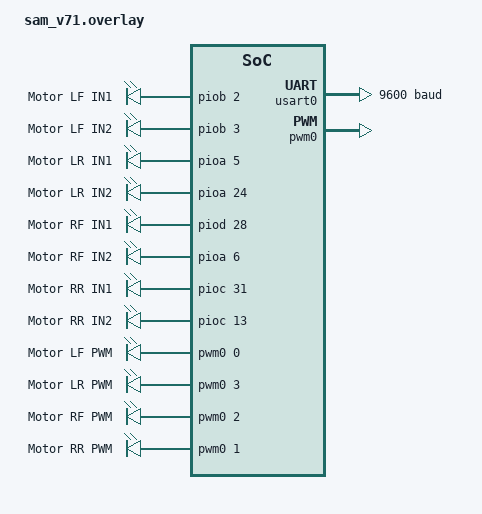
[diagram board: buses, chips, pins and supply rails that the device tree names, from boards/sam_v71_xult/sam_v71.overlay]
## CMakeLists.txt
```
cmake_minimum_required(VERSION 3.20.0)

find_package(Zephyr REQUIRED HINTS $ENV{ZEPHYR_BASE})
project(zephyr_embedded_labs)

if(NOT DEFINED HW_BOARD)
    message(FATAL_ERROR "HW_BOARD is not defined. Pass -DHW_BOARD=ATSAMV71 or -DHW_BOARD=STM32MP257")
endif()

message(STATUS "HW_BOARD = ${HW_BOARD}")

if(HW_BOARD STREQUAL "ATSAMV71")
    target_compile_definitions(app PRIVATE HW_BOARD_ATSAMV71)

elseif(HW_BOARD STREQUAL "STM32MP257")
    target_compile_definitions(app PRIVATE HW_BOARD_STM32MP257)

else()
    message(FATAL_ERROR "Unsupported HW_BOARD: ${HW_BOARD}")
endif()

target_sources(app PRIVATE

    apps/vehicle_command_parser/vehicle_command_parser.c
)

if("${HW_BOARD}" STREQUAL "ATSAMV71")
    target_sources(app PRIVATE
        src/atsamv71_main.c

        apps/bluetooth_rx/bluetooth_rx.c
        apps/vehicle_control_manager/vehicle_control_manager.c
        apps/vehicle_command_parser/vehicle_ipc_msg_processor.c
        
        apps/net/udp.c
        apps/net/tcp.c
        apps/net/echo-server.c

        drivers/motor_driver/motor_driver.c
    )
endif()

if("${HW_BOARD}" STREQUAL "STM32MP257")
    target_sources(app PRIVATE
        src/stm32mp257_m33_main.c

        apps/stm32mp257_m33/ipc/ipc.c
        apps/stm32mp257_m33/rpmsg/rpmsg_processor.c
    )
endif()

target_include_directories(app PRIVATE
    include

    apps/vehicle_command_parser
    
)

if("${HW_BOARD}" STREQUAL "ATSAMV71")
    target_include_directories(app PRIVATE
        apps/bluetooth_rx
        apps/vehicle_control_manager
        apps/net

        drivers/motor_driver
    )
endif()

if("${HW_BOARD}" STREQUAL "STM32MP257")
    target_include_directories(app PRIVATE
        apps/stm32mp257_m33/ipc
        apps/stm32mp257_m33/rpmsg
    )
endif()
```

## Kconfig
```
mainmenu "Zephyr Embedded Labs"

config NET_SAMPLE_NUM_HANDLERS
    int "Number of simultaneous echo-server handlers"
    default 1
    range 1 10
    help
      Number of simultaneous client connections handled by
      the imported echo-server sample.

source "Kconfig.zephyr"
```

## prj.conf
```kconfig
CONFIG_GPIO=y
CONFIG_PRINTK=y

CONFIG_PWM=y

CONFIG_SERIAL=y
CONFIG_CONSOLE=y
CONFIG_UART_CONSOLE=y

CONFIG_UART_INTERRUPT_DRIVEN=y

CONFIG_PINCTRL=y
```

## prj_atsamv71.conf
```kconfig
CONFIG_GPIO=y
CONFIG_PRINTK=y

CONFIG_PWM=y

CONFIG_SERIAL=y
CONFIG_CONSOLE=y
CONFIG_UART_CONSOLE=y

CONFIG_UART_INTERRUPT_DRIVEN=y

CONFIG_PINCTRL=y

# Generic networking options
CONFIG_NETWORKING=y
CONFIG_NET_UDP=y
CONFIG_NET_TCP=y
CONFIG_NET_IPV6=y
CONFIG_NET_IPV4=y
CONFIG_NET_SOCKETS=y
CONFIG_POSIX_API=y
CONFIG_NET_CONNECTION_MANAGER=y

CONFIG_NET_LOG=y
CONFIG_NET_STATISTICS=y

CONFIG_NET_SHELL=y
CONFIG_SHELL=y

CONFIG_NET_PKT_RX_COUNT=16
CONFIG_NET_PKT_TX_COUNT=16
CONFIG_NET_BUF_RX_COUNT=64
CONFIG_NET_BUF_TX_COUNT=64
CONFIG_NET_CONTEXT_NET_PKT_POOL=y
CONFIG_NET_MAX_CONTEXTS=10


# Network application options and configuration
CONFIG_NET_CONFIG_SETTINGS=y
CONFIG_NET_CONFIG_NEED_IPV6=y
CONFIG_NET_CONFIG_MY_IPV6_ADDR="2001:db8::1"
CONFIG_NET_CONFIG_PEER_IPV6_ADDR="2001:db8::2"
CONFIG_NET_CONFIG_NEED_IPV4=y
CONFIG_NET_CONFIG_MY_IPV4_ADDR="192.0.2.1"
CONFIG_NET_CONFIG_PEER_IPV4_ADDR="192.0.2.2"

# How many client can connect to echo-server simultaneously
CONFIG_NET_SAMPLE_NUM_HANDLERS=1


CONFIG_DEBUG_OPTIMIZATIONS=y
```

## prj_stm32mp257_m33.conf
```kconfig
CONFIG_KERNEL_BIN_NAME="stm32mp257_m33"

CONFIG_PRINTK=n

CONFIG_IPM=y
CONFIG_MAIN_STACK_SIZE=2048
CONFIG_HEAP_MEM_POOL_SIZE=1024

CONFIG_OPENAMP=y
CONFIG_OPENAMP_RSC_TABLE=y
CONFIG_OPENAMP_RSC_TABLE_NUM_RPMSG_BUFF=8
CONFIG_OPENAMP_MASTER=n

CONFIG_SHELL=y
CONFIG_SHELL_BACKEND_SERIAL=n
CONFIG_SHELL_BACKEND_RPMSG=y
```

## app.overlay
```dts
/ {
    my_outputs {
        compatible = "gpio-leds";

        pa06_out: pa06_out {
            gpios = <&pioa 6 GPIO_ACTIVE_HIGH>;
            label = "PA06 Output";
        };
    };

    aliases {
        pa06-out = &pa06_out;
    };

};

&usart0 {
    status = "okay";
    current-speed = <9600>;
    pinctrl-0 = <&usart0_default>;
    pinctrl-names = "default";
};
```

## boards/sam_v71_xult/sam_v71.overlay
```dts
#include <zephyr/dt-bindings/gpio/gpio.h>
#include <zephyr/dt-bindings/pwm/pwm.h>
#include <dt-bindings/pinctrl/samv71q-pinctrl.h>

/ {
    motor_direction_pins {
        compatible = "gpio-leds";

        /*
         * Direction GPIO pins:
         *   PB02 -> Left Front  IN1
         *   PB03 -> Left Front  IN2
         *   PA05 -> Left Rear   IN1
         *   PA24 -> Left Rear   IN2
         *
         *   PD28 -> Right Front IN1
         *   PA06 -> Right Front IN2
         *   PC31 -> Right Rear  IN1
         *   PC13 -> Right Rear  IN2
         *
         * Avoided: 



         *   PB00 / PB01 -> USART0 HC-05
         *   PD26 / PD24 / PA10 / PA22 -> Audio-related pins
         *   PA00 / PD27 / PC19 / PA02 -> PWM pins
         */

        motor_lf_in1: motor_lf_in1 {
            gpios = <&piob 2 GPIO_ACTIVE_HIGH>;
            label = "Motor LF IN1";
        };

        motor_lf_in2: motor_lf_in2 {
            gpios = <&piob 3 GPIO_ACTIVE_HIGH>;
            label = "Motor LF IN2";
        };

        motor_lr_in1: motor_lr_in1 {
            gpios = <&pioa 5 GPIO_ACTIVE_HIGH>;
            label = "Motor LR IN1";
        };

        motor_lr_in2: motor_lr_in2 {
            gpios = <&pioa 24 GPIO_ACTIVE_HIGH>;
            label = "Motor LR IN2";
        };

        motor_rf_in1: motor_rf_in1 {
            gpios = <&piod 28 GPIO_ACTIVE_HIGH>;
            label = "Motor RF IN1";
        };

        motor_rf_in2: motor_rf_in2 {
            gpios = <&pioa 6 GPIO_ACTIVE_HIGH>;
            label = "Motor RF IN2";
        };

        motor_rr_in1: motor_rr_in1 {
            gpios = <&pioc 31 GPIO_ACTIVE_HIGH>;
            label = "Motor RR IN1";
        };

        motor_rr_in2: motor_rr_in2 {
            gpios = <&pioc 13 GPIO_ACTIVE_HIGH>;
            label = "Motor RR IN2";
        };
    };

    motor_pwm_outputs {
        compatible = "pwm-leds";

        /*
        * PWM pins:
        *   PD20 -> PWM channel 0 -> Left Front ENA
        *   PD27 -> PWM channel 3 -> Left Rear  ENB
        *
        *   PD26 -> PWM channel 2 -> Right Front ENA
        *   PA02 -> PWM channel 1 -> Right Rear  ENB
        */

        motor_lf_pwm: motor_lf_pwm {
            pwms = <&pwm0 0 PWM_MSEC(1) PWM_POLARITY_NORMAL>;
            label = "Motor LF PWM";
        };

        motor_lr_pwm: motor_lr_pwm {
            pwms = <&pwm0 3 PWM_MSEC(1) PWM_POLARITY_NORMAL>;
            label = "Motor LR PWM";
        };

        motor_rf_pwm: motor_rf_pwm {
            pwms = <&pwm0 2 PWM_MSEC(1) PWM_POLARITY_NORMAL>;
            label = "Motor RF PWM";
        };

        motor_rr_pwm: motor_rr_pwm {
            pwms = <&pwm0 1 PWM_MSEC(1) PWM_POLARITY_NORMAL>;
            label = "Motor RR PWM";
        };
    };

    aliases {
        motor-lf-in1 = &motor_lf_in1;
        motor-lf-in2 = &motor_lf_in2;

        motor-lr-in1 = &motor_lr_in1;
        motor-lr-in2 = &motor_lr_in2;

        motor-rf-in1 = &motor_rf_in1;
        motor-rf-in2 = &motor_rf_in2;

        motor-rr-in1 = &motor_rr_in1;
        motor-rr-in2 = &motor_rr_in2;

        motor-lf-pwm = &motor_lf_pwm;
        motor-lr-pwm = &motor_lr_pwm;
        motor-rf-pwm = &motor_rf_pwm;
        motor-rr-pwm = &motor_rr_pwm;
    };
};

&usart0 {
    status = "okay";
    current-speed = <9600>;
    pinctrl-0 = <&usart0_default>;
    pinctrl-names = "default";
};

&pwm0 {
    status = "okay";
};
```

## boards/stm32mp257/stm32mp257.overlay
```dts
/*
 * STM32MP257F-DK M33 OpenAMP shared memory configuration
 */

/ {
        chosen {
                /*
                 * Shared memory reserved for inter-processor communication.
                 */
                zephyr,ipc_shm = &ipc_shmem;
                zephyr,ipc = &mailbox;
        };

        ipc_shmem: memory1@81200000 {
                compatible = "mmio-sram";
                reg = <0x81200000 DT_SIZE_M(1)>;
        };
};
```

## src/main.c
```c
#include <zephyr/kernel.h>
#include <zephyr/sys/printk.h>
#include <zephyr/shell/shell.h>

#include <errno.h>
#include <string.h>

#ifdef HW_BOARD_ATSAMV71
#include "vehicle_control_manager.h"
#include "motor_driver.h"
#include "bluetooth_rx.h"
#endif

#ifdef HW_BOARD_STM32MP257
#include "ipc.h"
#endif

#ifdef HW_BOARD_STM32MP257

static int cmd_vehicle(const struct shell *shell, size_t argc, char **argv)
{
    if (argc < 2) {
        shell_print(shell, "Usage: vehicle <forward|backward|left|right|stop|estop>");
        return -EINVAL;
    }

    const char *cmd = argv[1];

    if (strcmp(cmd, "forward") == 0) {
        shell_print(shell, "vehicle: forward");
    } else if (strcmp(cmd, "backward") == 0) {
        shell_print(shell, "vehicle: backward");
    } else if (strcmp(cmd, "left") == 0) {
        shell_print(shell, "vehicle: left");
    } else if (strcmp(cmd, "right") == 0) {
        shell_print(shell, "vehicle: right");
    } else if (strcmp(cmd, "stop") == 0) {
        shell_print(shell, "vehicle: stop");
    } else if (strcmp(cmd, "estop") == 0) {
        shell_print(shell, "vehicle: emergency stop");
    } else {
        shell_error(shell, "Unknown vehicle command: %s", cmd);
        return -EINVAL;
    }

    return 0;
}

SHELL_CMD_REGISTER(vehicle, NULL, "Vehicle control command", cmd_vehicle);

#endif

int main(void)
{
    printk("\n\n----->>>> \t Custom motor control starting \t <<<<-----\n\n");
    int ret = 0;
#ifdef HW_BOARD_ATSAMV71
    vehicle_control_config_t config = {
        .default_speed_limit_pct = 40,
        .default_ttl_ms = 400,

        /*
         * Gentle initial values:
         * 0% to 100% takes about 1.25 seconds.
         * 100% to 0% takes about 0.6 seconds.
         */
        .ramp_up_pct_per_sec = 80,
        .ramp_down_pct_per_sec = 160,

        .max_update_dt_ms = 100,
    };


    /* Initialize motor driver */
    ret = motor_driver_init();
    if (ret != 0) {
        printk("motor_driver_init failed: %d\n", ret);
        //return 0;
    }
    else {
        printk("motor_driver_init success\n");
    }

    /* Initialize Vehicle command manager */
    vehicle_control_manager_init( &config );


    bluetooth_rx_init();
#endif


#ifdef HW_BOARD_STM32MP257
    start_stm32mp257_openamp_ipc();
#endif

    while (1) {        
        k_sleep(K_SECONDS(1));
    }
}
```

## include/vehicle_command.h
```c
#ifndef VEHICLE_COMMAND_H
#define VEHICLE_COMMAND_H

#include <stdint.h>
#include <stdbool.h>

#ifdef __cplusplus
extern "C" {
#endif

#define VEHICLE_COMMAND_VERSION        (1u)
#define VEHICLE_AXIS_MIN               (-1000)
#define VEHICLE_AXIS_MAX               (1000)
#define VEHICLE_SPEED_MIN_PCT          (0u)
#define VEHICLE_SPEED_MAX_PCT          (100u)

typedef enum {
    VEHICLE_SOURCE_UNKNOWN = 0,
    VEHICLE_SOURCE_HC05_UART,
    VEHICLE_SOURCE_BLE_GATT,
    VEHICLE_SOURCE_ROS2,
    VEHICLE_SOURCE_AUTONOMOUS,
    VEHICLE_SOURCE_TEST,
    VEHICLE_SOURCE_SAFETY
} vehicle_command_source_t;

typedef enum {
    VEHICLE_CMD_MOTION = 0,
    VEHICLE_CMD_STOP,
    VEHICLE_CMD_EMERGENCY_STOP,
    VEHICLE_CMD_SET_SPEED,
    VEHICLE_CMD_HEARTBEAT
} vehicle_command_type_t;

typedef enum {
    VEHICLE_MODE_MANUAL = 0,
    VEHICLE_MODE_AUTONOMOUS,
    VEHICLE_MODE_ASSISTED,
    VEHICLE_MODE_ESTOP
} vehicle_control_mode_t;

typedef struct {
    uint8_t version;

    vehicle_command_source_t source;
    vehicle_command_type_t command_type;
    vehicle_control_mode_t control_mode;

    /*
     * Normalized desired motion.
     *
     * linear_x:
     *   +1000 = full forward request
     *       0 = no forward/backward request
     *   -1000 = full backward request
     *
     * angular_z:
     *   +1000 = turn/rotate left request
     *       0 = no turn request
     *   -1000 = turn/rotate right request
     */
    int16_t linear_x;
    int16_t angular_z;

    /*
     * Maximum allowed output percentage.
     * This is NOT direct PWM.
     * It is a limit applied before ramping.
     */
    uint8_t speed_limit_pct;

    /*
     * Command validity duration.
     * If command is not refreshed before ttl_ms expires,
     * the vehicle control manager ramps toward stop.
     */
    uint16_t ttl_ms;

    uint32_t sequence_id;
    uint32_t timestamp_ms;
} vehicle_motion_command_t;

typedef struct {
    /*
     * Signed motor output after mixing and ramping.
     *
     * +100 = forward 100%
     *    0 = stop
     * -100 = backward 100%
     */
    int16_t left_pct;
    int16_t right_pct;

    bool emergency_stop_active;
    bool command_timeout_active;
} vehicle_motor_output_t;

#ifdef __cplusplus
}
#endif

#endif /* VEHICLE_COMMAND_H */
```

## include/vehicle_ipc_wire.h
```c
#ifndef VEHICLE_IPC_WIRE_H
#define VEHICLE_IPC_WIRE_H

#include <stdint.h>

#ifdef __cplusplus
extern "C" {
#endif

#define VEHICLE_CMD_MAGIC      (0x56434D44u) /* 'VCMD' */
#define VEHICLE_ACK_MAGIC      (0x5641434Bu) /* 'VACK' */
#define VEHICLE_WIRE_VERSION   (1u)

typedef enum {
    VEHICLE_ACK_STATUS_OK = 0,
    VEHICLE_ACK_STATUS_INVALID_LENGTH = 1,
    VEHICLE_ACK_STATUS_INVALID_MAGIC = 2,
    VEHICLE_ACK_STATUS_INVALID_VERSION = 3,
    VEHICLE_ACK_STATUS_INVALID_RANGE = 4,
    VEHICLE_ACK_STATUS_REJECTED = 5,
    VEHICLE_ACK_STATUS_BUSY = 6,
} vehicle_ack_status_t;

typedef struct __attribute__((packed)) {
    uint32_t magic;

    uint8_t version;
    uint8_t source;
    uint8_t command_type;
    uint8_t control_mode;

    int16_t linear_x;
    int16_t angular_z;

    uint8_t speed_limit_pct;
    uint8_t reserved0;

    uint16_t ttl_ms;

    uint32_t sequence_id;
    uint32_t timestamp_ms;
} vehicle_motion_command_wire_t;

typedef struct __attribute__((packed)) {
    uint32_t magic;
    uint8_t version;
    uint8_t status;
    uint16_t error_code;
    uint32_t sequence_id;
    uint32_t timestamp_ms;
} vehicle_command_ack_wire_t;

_Static_assert(sizeof(vehicle_motion_command_wire_t) == 24,
               "vehicle_motion_command_wire_t size changed");

_Static_assert(sizeof(vehicle_command_ack_wire_t) == 16,
               "vehicle_command_ack_wire_t size changed");

#ifdef __cplusplus
}
#endif

#endif
```

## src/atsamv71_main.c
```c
#include <zephyr/kernel.h>
#include <zephyr/sys/printk.h>
#include <zephyr/shell/shell.h>

#include <errno.h>
#include <string.h>

#include "vehicle_control_manager.h"
#include "motor_driver.h"
#include "bluetooth_rx.h"
#include "echo_server.h"

int main(void)
{
    printk("\n\n----->>>> \t Custom motor control starting \t <<<<-----\n\n");
    int ret = 0;

    vehicle_control_config_t config = {
        .default_speed_limit_pct = 40,
        .default_ttl_ms = 400,

        /*
         * Gentle initial values:
         * 0% to 100% takes about 1.25 seconds.
         * 100% to 0% takes about 0.6 seconds.
         */
        .ramp_up_pct_per_sec = 80,
        .ramp_down_pct_per_sec = 160,

        .max_update_dt_ms = 100,
    };


    /* Initialize motor driver */
    ret = motor_driver_init();
    if (ret != 0) {
        printk("motor_driver_init failed: %d\n", ret);
        //return 0;
    }
    else {
        printk("motor_driver_init success\n");
    }

    /* Initialize Vehicle command manager */
    vehicle_control_manager_init( &config );


    bluetooth_rx_init();

    echo_server();

    while (1) {        
        k_sleep(K_SECONDS(1));
    }
}
```

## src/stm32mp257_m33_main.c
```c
#include <zephyr/kernel.h>
#include <zephyr/sys/printk.h>
#include <zephyr/shell/shell.h>

#include <errno.h>
#include <string.h>

#include "ipc.h"

static int cmd_vehicle(const struct shell *shell, size_t argc, char **argv)
{
    if (argc < 2) {
        shell_print(shell, "Usage: vehicle <forward|backward|left|right|stop|estop>");
        return -EINVAL;
    }

    const char *cmd = argv[1];

    if (strcmp(cmd, "forward") == 0) {
        shell_print(shell, "vehicle: forward");
    } else if (strcmp(cmd, "backward") == 0) {
        shell_print(shell, "vehicle: backward");
    } else if (strcmp(cmd, "left") == 0) {
        shell_print(shell, "vehicle: left");
    } else if (strcmp(cmd, "right") == 0) {
        shell_print(shell, "vehicle: right");
    } else if (strcmp(cmd, "stop") == 0) {
        shell_print(shell, "vehicle: stop");
    } else if (strcmp(cmd, "estop") == 0) {
        shell_print(shell, "vehicle: emergency stop");
    } else {
        shell_error(shell, "Unknown vehicle command: %s", cmd);
        return -EINVAL;
    }

    return 0;
}

SHELL_CMD_REGISTER(vehicle, NULL, "Vehicle control command", cmd_vehicle);

int main(void)
{
    printk("\n\n----->>>> \t Custom motor control starting \t <<<<-----\n\n");

#ifdef HW_BOARD_ATSAMV71
    int ret = 0;
    vehicle_control_config_t config = {
        .default_speed_limit_pct = 40,
        .default_ttl_ms = 400,

        /*
         * Gentle initial values:
         * 0% to 100% takes about 1.25 seconds.
         * 100% to 0% takes about 0.6 seconds.
         */
        .ramp_up_pct_per_sec = 80,
        .ramp_down_pct_per_sec = 160,

        .max_update_dt_ms = 100,
    };


    /* Initialize motor driver */
    ret = motor_driver_init();
    if (ret != 0) {
        printk("motor_driver_init failed: %d\n", ret);
        //return 0;
    }
    else {
        printk("motor_driver_init success\n");
    }

    /* Initialize Vehicle command manager */
    vehicle_control_manager_init( &config );


    bluetooth_rx_init();
#endif

    start_stm32mp257_openamp_ipc();

    while (1) {        
        k_sleep(K_SECONDS(1));
    }
}
```
